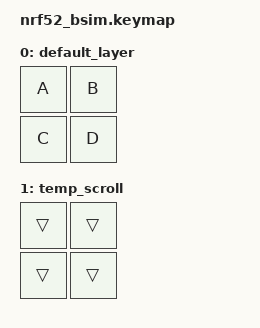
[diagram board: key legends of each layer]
/*
 * Copyright (c) 2026 amgskobo
 * SPDX-License-Identifier: MIT
 *
 * A left-edge slider on the central, fed by a pad on the peripheral.
 *
 * 4.0 s  A contact on the edge raises layer 1; its lift at 4.32 s drops it.
 * 5.0 s  A contact in the middle raises nothing.
 * 6.0 s  A contact on the edge raises layer 1 and stays down to 12.0 s. From
 *        6.3 s to 11.0 s wideband noise drowns the radio, the split link
 *        times out, and the central releases the contact on its behalf: the
 *        layer must drop then rather than stay up. The contact's reports after
 *        the link comes back belong to a contact the central saw end, so they
 *        raise nothing.
 */

#include <behaviors.dtsi>
#include <dt-bindings/zmk/keys.h>

#include "shared.dtsi"

&kscan {
    /delete-property/ exit-after;
    events = <>;
};

&split_listener {
    status = "okay";
};

/ {
    keymap {
        compatible = "zmk,keymap";

        default_layer {
            bindings = <
            &kp A &kp B
            &kp C &kp D>;
        };

        temp_scroll {
            bindings = <
            &trans &trans
            &trans &trans>;
        };
    };
};
